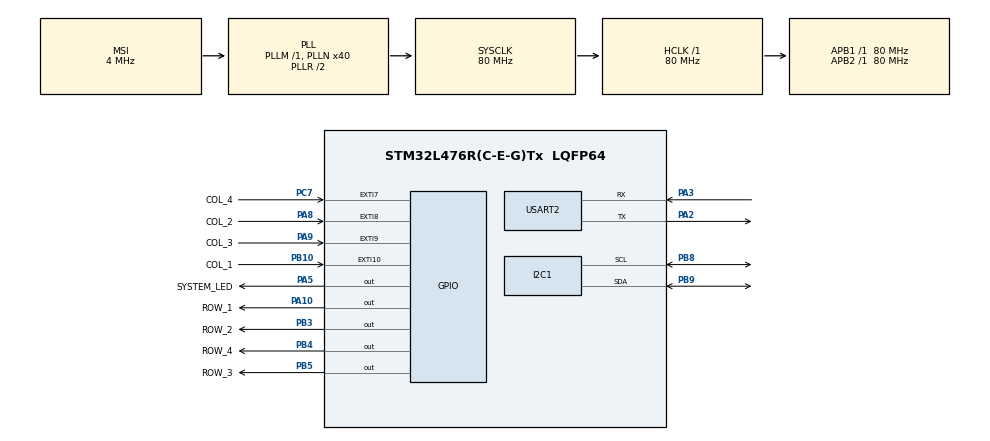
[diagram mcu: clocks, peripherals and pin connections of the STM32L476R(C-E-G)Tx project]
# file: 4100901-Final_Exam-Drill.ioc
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I2C1.Timing=0x10909CEC
Mcu.Family=STM32L4
Mcu.Name=STM32L476R(C-E-G)Tx
Mcu.Package=LQFP64
NVIC.EXTI15_10_IRQn=true\:0\:0\:false\:false\:true\:true\:true\:true
NVIC.EXTI9_5_IRQn=true\:0\:0\:false\:false\:true\:true\:true\:true
NVIC.I2C1_ER_IRQn=true\:0\:0\:false\:false\:true\:true\:true\:true
NVIC.I2C1_EV_IRQn=true\:0\:0\:false\:false\:true\:true\:true\:true
NVIC.PriorityGroup=NVIC_PRIORITYGROUP_4
NVIC.USART2_IRQn=true\:0\:0\:false\:false\:true\:true\:true\:true
PA10.GPIO_Label=ROW_1
PA10.PinState=GPIO_PIN_SET
PA10.Signal=GPIO_Output
PA2.Mode=Asynchronous
PA2.Signal=USART2_TX
PA3.Mode=Asynchronous
PA3.Signal=USART2_RX
PA5.GPIO_Label=SYSTEM_LED
PA5.Signal=GPIO_Output
PA8.GPIO_Label=COL_2
PA8.GPIO_ModeDefaultEXTI=GPIO_MODE_IT_RISING
PA8.GPIO_PuPd=GPIO_PULLDOWN
PA8.Signal=GPXTI8
PA9.GPIO_Label=COL_3
PA9.GPIO_ModeDefaultEXTI=GPIO_MODE_IT_RISING
PA9.GPIO_PuPd=GPIO_PULLDOWN
PA9.Signal=GPXTI9
PB10.GPIO_Label=COL_1
PB10.GPIO_ModeDefaultEXTI=GPIO_MODE_IT_RISING
PB10.GPIO_PuPd=GPIO_PULLDOWN
PB10.Signal=GPXTI10
PB3\ (JTDO-TRACESWO).GPIO_Label=ROW_2
PB3\ (JTDO-TRACESWO).PinState=GPIO_PIN_SET
PB3\ (JTDO-TRACESWO).Signal=GPIO_Output
PB4\ (NJTRST).GPIO_Label=ROW_4
PB4\ (NJTRST).PinState=GPIO_PIN_SET
PB4\ (NJTRST).Signal=GPIO_Output
PB5.GPIO_Label=ROW_3
PB5.PinState=GPIO_PIN_SET
PB5.Signal=GPIO_Output
PB8.Mode=I2C
PB8.Signal=I2C1_SCL
PB9.Mode=I2C
PB9.Signal=I2C1_SDA
PC7.GPIO_Label=COL_4
PC7.GPIO_ModeDefaultEXTI=GPIO_MODE_IT_RISING
PC7.GPIO_PuPd=GPIO_PULLDOWN
PC7.Signal=GPXTI7
ProjectManager.HeapSize=0x200
ProjectManager.StackSize=0x400
ProjectManager.TargetToolchain=STM32CubeIDE
RCC.AHBFreq_Value=80000000
RCC.APB1Freq_Value=80000000
RCC.APB1TimFreq_Value=80000000
RCC.APB2Freq_Value=80000000
RCC.APB2TimFreq_Value=80000000
RCC.CortexFreq_Value=80000000
RCC.HCLKFreq_Value=80000000
RCC.HSE_VALUE=8000000
RCC.HSI_VALUE=16000000
RCC.LSE_VALUE=32768
RCC.MSI_VALUE=4000000
RCC.PLLN=40
RCC.SYSCLKFreq_VALUE=80000000
RCC.SYSCLKSource=RCC_SYSCLKSOURCE_PLLCLK
RCC.VCOOutputFreq_Value=160000000
USART2.VirtualMode-Asynchronous=VM_ASYNC
board=custom

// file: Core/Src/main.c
/* USER CODE BEGIN Header */
/**
  ******************************************************************************
  * @file           : main.c
  * @brief          : Main program body
  ******************************************************************************
  * @attention
  *
  * Copyright (c) 2024 STMicroelectronics.
  * All rights reserved.
  *
  * This software is licensed under terms that can be found in the LICENSE file
  * in the root directory of this software component.
  * If no LICENSE file comes with this software, it is provided AS-IS.
  *
  ******************************************************************************
  */
/* USER CODE END Header */
#include "main.h"

/* USER CODE BEGIN Includes */
#include <stdio.h>
#include "ssd1306.h"
#include "ssd1306_fonts.h"
#include "ssd1306_tests.h"
#include "keypad.h"
#include "ring_buffer.h"

/* USER CODE END Includes */

I2C_HandleTypeDef hi2c1;

UART_HandleTypeDef huart2;

/* USER CODE BEGIN PV */
#define USART2_BUFFER_SIZE 8
uint8_t usart2_buffer[USART2_BUFFER_SIZE];
ring_buffer_t usart2_rb;
uint8_t usart2_rx;

uint32_t left_toggles = 0;
uint32_t left_last_press_tick = 0;
/* USER CODE END PV */

void SystemClock_Config(void);
static void MX_GPIO_Init(void);
static void MX_USART2_UART_Init(void);
static void MX_I2C1_Init(void);

/* USER CODE BEGIN 0 */
int _write(int file, char *ptr, int len)
{
  // to using printf
  HAL_UART_Transmit(&huart2, (uint8_t *)ptr, len, 10);
  return len;
}

void HAL_GPIO_EXTI_Callback(uint16_t GPIO_Pin)
{
	uint8_t key_pressed = keypad_scan(GPIO_Pin);
		if (key_pressed != 0xFF) {
			printf("Pressed: %c\r\n", key_pressed);
			return;
		}
}
/* USER CODE END 0 */

int main(void)
{

  /* MCU Configuration--------------------------------------------------------*/

  /* Reset of all peripherals, Initializes the Flash interface and the Systick. */
  HAL_Init();

  /* Configure the system clock */
  SystemClock_Config();

  /* Initialize all configured peripherals */
  MX_GPIO_Init();
  MX_USART2_UART_Init();
  MX_I2C1_Init();
  /* USER CODE BEGIN 2 */
ssd1306_Init();
ssd1306_Fill(Black);
ssd1306_SetCursor(10, 27);
ssd1306_WriteString("camilo !", Font_16x15, White);
ssd1306_UpdateScreen();
  /* USER CODE END 2 */

  /* Infinite loop */
  /* USER CODE BEGIN WHILE */
  printf("Starting...\r\n");

  while (1)
  {
    /* USER CODE END WHILE */

  }
}

void SystemClock_Config(void)
{
  RCC_OscInitTypeDef RCC_OscInitStruct = {0};
  RCC_ClkInitTypeDef RCC_ClkInitStruct = {0};

  /** Configure the main internal regulator output voltage
  */
  if (HAL_PWREx_ControlVoltageScaling(PWR_REGULATOR_VOLTAGE_SCALE1) != HAL_OK)
  {
    Error_Handler();
  }

  /** Initializes the RCC Oscillators according to the specified parameters
  * in the RCC_OscInitTypeDef structure.
  */
  RCC_OscInitStruct.OscillatorType = RCC_OSCILLATORTYPE_MSI;
  RCC_OscInitStruct.MSIState = RCC_MSI_ON;
  RCC_OscInitStruct.MSICalibrationValue = 0;
  RCC_OscInitStruct.MSIClockRange = RCC_MSIRANGE_6;
  RCC_OscInitStruct.PLL.PLLState = RCC_PLL_ON;
  RCC_OscInitStruct.PLL.PLLSource = RCC_PLLSOURCE_MSI;
  RCC_OscInitStruct.PLL.PLLM = 1;
  RCC_OscInitStruct.PLL.PLLN = 40;
  RCC_OscInitStruct.PLL.PLLP = RCC_PLLP_DIV7;
  RCC_OscInitStruct.PLL.PLLQ = RCC_PLLQ_DIV2;
  RCC_OscInitStruct.PLL.PLLR = RCC_PLLR_DIV2;
  if (HAL_RCC_OscConfig(&RCC_OscInitStruct) != HAL_OK)
  {
    Error_Handler();
  }

  /** Initializes the CPU, AHB and APB buses clocks
  */
  RCC_ClkInitStruct.ClockType = RCC_CLOCKTYPE_HCLK|RCC_CLOCKTYPE_SYSCLK
                              |RCC_CLOCKTYPE_PCLK1|RCC_CLOCKTYPE_PCLK2;
  RCC_ClkInitStruct.SYSCLKSource = RCC_SYSCLKSOURCE_PLLCLK;
  RCC_ClkInitStruct.AHBCLKDivider = RCC_SYSCLK_DIV1;
  RCC_ClkInitStruct.APB1CLKDivider = RCC_HCLK_DIV1;
  RCC_ClkInitStruct.APB2CLKDivider = RCC_HCLK_DIV1;

  if (HAL_RCC_ClockConfig(&RCC_ClkInitStruct, FLASH_LATENCY_4) != HAL_OK)
  {
    Error_Handler();
  }
}

static void MX_I2C1_Init(void)
{

  hi2c1.Instance = I2C1;
  hi2c1.Init.Timing = 0x10909CEC;
  hi2c1.Init.OwnAddress1 = 0;
  hi2c1.Init.AddressingMode = I2C_ADDRESSINGMODE_7BIT;
  hi2c1.Init.DualAddressMode = I2C_DUALADDRESS_DISABLE;
  hi2c1.Init.OwnAddress2 = 0;
  hi2c1.Init.OwnAddress2Masks = I2C_OA2_NOMASK;
  hi2c1.Init.GeneralCallMode = I2C_GENERALCALL_DISABLE;
  hi2c1.Init.NoStretchMode = I2C_NOSTRETCH_DISABLE;
  if (HAL_I2C_Init(&hi2c1) != HAL_OK)
  {
    Error_Handler();
  }

  /** Configure Analogue filter
  */
  if (HAL_I2CEx_ConfigAnalogFilter(&hi2c1, I2C_ANALOGFILTER_ENABLE) != HAL_OK)
  {
    Error_Handler();
  }

  /** Configure Digital filter
  */
  if (HAL_I2CEx_ConfigDigitalFilter(&hi2c1, 0) != HAL_OK)
  {
    Error_Handler();
  }

}

static void MX_USART2_UART_Init(void)
{

  huart2.Instance = USART2;
  huart2.Init.BaudRate = 115200;
  huart2.Init.WordLength = UART_WORDLENGTH_8B;
  huart2.Init.StopBits = UART_STOPBITS_1;
  huart2.Init.Parity = UART_PARITY_NONE;
  huart2.Init.Mode = UART_MODE_TX_RX;
  huart2.Init.HwFlowCtl = UART_HWCONTROL_NONE;
  huart2.Init.OverSampling = UART_OVERSAMPLING_16;
  huart2.Init.OneBitSampling = UART_ONE_BIT_SAMPLE_DISABLE;
  huart2.AdvancedInit.AdvFeatureInit = UART_ADVFEATURE_NO_INIT;
  if (HAL_UART_Init(&huart2) != HAL_OK)
  {
    Error_Handler();
  }

}

static void MX_GPIO_Init(void)
{
  GPIO_InitTypeDef GPIO_InitStruct = {0};

  /* GPIO Ports Clock Enable */
  __HAL_RCC_GPIOA_CLK_ENABLE();
  __HAL_RCC_GPIOB_CLK_ENABLE();
  __HAL_RCC_GPIOC_CLK_ENABLE();

  /*Configure GPIO pin Output Level */
  HAL_GPIO_WritePin(SYSTEM_LED_GPIO_Port, SYSTEM_LED_Pin, GPIO_PIN_RESET);

  /*Configure GPIO pin Output Level */
  HAL_GPIO_WritePin(ROW_1_GPIO_Port, ROW_1_Pin, GPIO_PIN_SET);

  /*Configure GPIO pin Output Level */
  HAL_GPIO_WritePin(GPIOB, ROW_2_Pin|ROW_4_Pin|ROW_3_Pin, GPIO_PIN_SET);

  /*Configure GPIO pins : SYSTEM_LED_Pin ROW_1_Pin */
  GPIO_InitStruct.Pin = SYSTEM_LED_Pin|ROW_1_Pin;
  GPIO_InitStruct.Mode = GPIO_MODE_OUTPUT_PP;
  GPIO_InitStruct.Pull = GPIO_NOPULL;
  GPIO_InitStruct.Speed = GPIO_SPEED_FREQ_LOW;
  HAL_GPIO_Init(GPIOA, &GPIO_InitStruct);

  /*Configure GPIO pin : COL_1_Pin */
  GPIO_InitStruct.Pin = COL_1_Pin;
  GPIO_InitStruct.Mode = GPIO_MODE_IT_RISING;
  GPIO_InitStruct.Pull = GPIO_PULLDOWN;
  HAL_GPIO_Init(COL_1_GPIO_Port, &GPIO_InitStruct);

  /*Configure GPIO pin : COL_4_Pin */
  GPIO_InitStruct.Pin = COL_4_Pin;
  GPIO_InitStruct.Mode = GPIO_MODE_IT_RISING;
  GPIO_InitStruct.Pull = GPIO_PULLDOWN;
  HAL_GPIO_Init(COL_4_GPIO_Port, &GPIO_InitStruct);

  /*Configure GPIO pins : COL_2_Pin COL_3_Pin */
  GPIO_InitStruct.Pin = COL_2_Pin|COL_3_Pin;
  GPIO_InitStruct.Mode = GPIO_MODE_IT_RISING;
  GPIO_InitStruct.Pull = GPIO_PULLDOWN;
  HAL_GPIO_Init(GPIOA, &GPIO_InitStruct);

  /*Configure GPIO pins : ROW_2_Pin ROW_4_Pin ROW_3_Pin */
  GPIO_InitStruct.Pin = ROW_2_Pin|ROW_4_Pin|ROW_3_Pin;
  GPIO_InitStruct.Mode = GPIO_MODE_OUTPUT_PP;
  GPIO_InitStruct.Pull = GPIO_NOPULL;
  GPIO_InitStruct.Speed = GPIO_SPEED_FREQ_LOW;
  HAL_GPIO_Init(GPIOB, &GPIO_InitStruct);

  /* EXTI interrupt init*/
  HAL_NVIC_SetPriority(EXTI9_5_IRQn, 0, 0);
  HAL_NVIC_EnableIRQ(EXTI9_5_IRQn);

  HAL_NVIC_SetPriority(EXTI15_10_IRQn, 0, 0);
  HAL_NVIC_EnableIRQ(EXTI15_10_IRQn);

}

void Error_Handler(void)
{
  __disable_irq();
  while (1)
  {
  }
}
